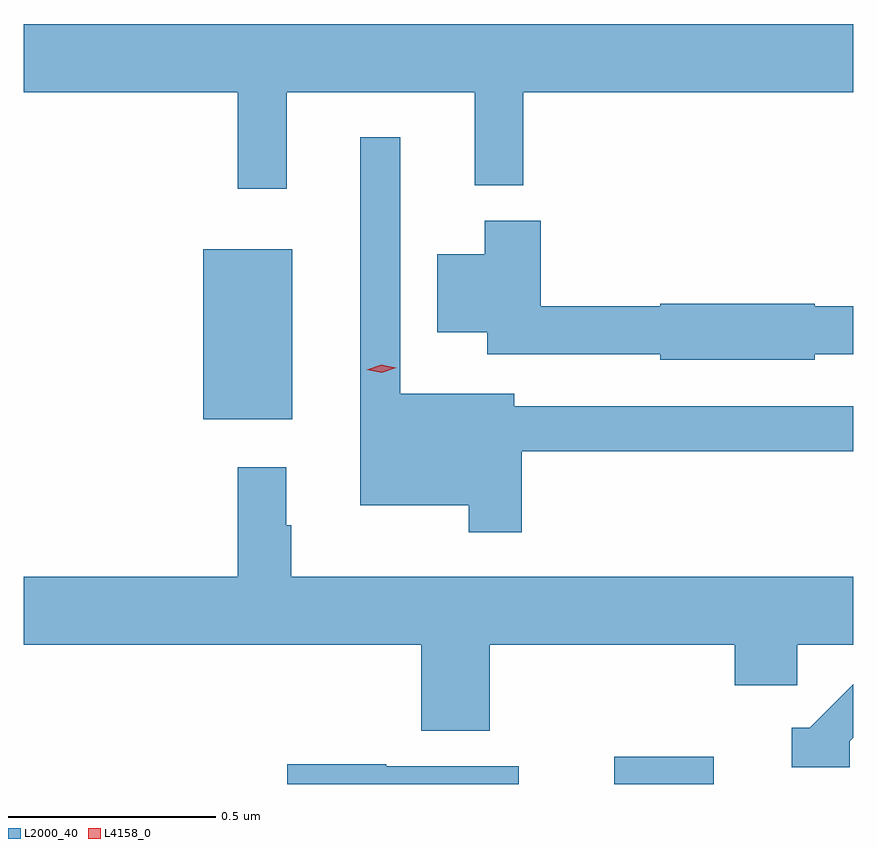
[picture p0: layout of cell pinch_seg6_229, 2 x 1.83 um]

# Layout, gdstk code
import gdstk
lib = gdstk.Library(unit=1e-6, precision=1e-09)
def R(c, l, rs):  # rectangles x0, y0, x1, y1
    for r in rs: c.add(gdstk.rectangle(r[:2], r[2:], *l))
def P(c, l, *ps):  # polygons
    for p in ps: c.add(gdstk.Polygon(p, *l))
L2000_40 = (2000, 40)
L4158_0 = (4158, 0)

pinch_seg6_229 = lib.new_cell('pinch_seg6_229')
R(pinch_seg6_229, L2000_40, [(1118.727,924.356,1118.966,924.422), (1117.736,925.235,1117.951,925.645)])
P(pinch_seg6_229, L2000_40, [(1117.937,926.024),(1118.39,926.024),(1118.39,925.799),(1118.507,925.799),(1118.507,926.024),(1119.303,926.024),(1119.303,926.188),(1117.303,926.188),(1117.303,926.024),(1117.819,926.024),(1117.819,925.791),(1117.937,925.791)],
  [(1118.504,925.158),(1119.303,925.158),(1119.303,925.266),(1118.485,925.266),(1118.485,925.297),(1118.211,925.297),(1118.211,925.915),(1118.114,925.915),(1118.114,925.028),(1118.376,925.028),(1118.376,924.963),(1118.504,924.963)],
  [(1119.21,925.392),(1119.303,925.392),(1119.303,925.508),(1119.21,925.508),(1119.21,925.514),(1118.838,925.514),(1118.838,925.508),(1118.549,925.508),(1118.549,925.714),(1118.414,925.714),(1118.414,925.633),(1118.3,925.633),(1118.3,925.445),(1118.42,925.445),(1118.42,925.392),(1118.838,925.392),(1118.838,925.379),(1119.21,925.379)],
  [(1118.426,924.692),(1119.017,924.692),(1119.017,924.594),(1119.168,924.594),(1119.168,924.692),(1119.303,924.692),(1119.303,924.856),(1117.948,924.856),(1117.948,924.98),(1117.936,924.98),(1117.936,925.12),(1117.819,925.12),(1117.819,924.856),(1117.303,924.856),(1117.303,924.692),(1118.261,924.692),(1118.261,924.484),(1118.426,924.484)],
  [(1119.294,924.459),(1119.303,924.468),(1119.303,924.597),(1119.198,924.492),(1119.155,924.492),(1119.155,924.396),(1119.294,924.396)],
  [(1118.496,924.399),(1118.177,924.399),(1118.177,924.404),(1117.939,924.404),(1117.939,924.356),(1118.496,924.356)])
P(pinch_seg6_229, L4158_0, [(1118.166,925.347),(1118.13,925.354),(1118.13,925.355),(1118.13,925.355),(1118.165,925.367),(1118.201,925.359),(1118.201,925.359),(1118.201,925.359)])

lib.write_gds('pinch_seg6_229.gds')
